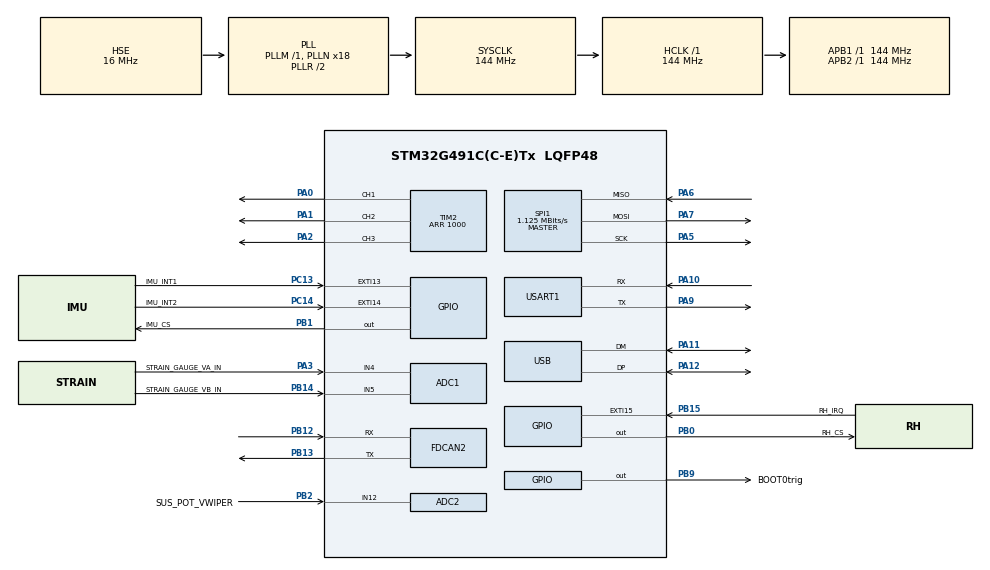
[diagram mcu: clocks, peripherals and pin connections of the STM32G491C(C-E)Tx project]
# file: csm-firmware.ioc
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ADC1.Channel-0\#ChannelRegularConversion=ADC_CHANNEL_4
ADC1.NbrOfConversionFlag=1
ADC1.OffsetNumber-0\#ChannelRegularConversion=ADC_OFFSET_NONE
ADC1.Rank-0\#ChannelRegularConversion=1
ADC1.SamplingTime-0\#ChannelRegularConversion=ADC_SAMPLETIME_2CYCLES_5
ADC1.SingleDiff-0\#ChannelRegularConversion=ADC_DIFFERENTIAL_ENDED
ADC1.master=1
ADC2.Channel-0\#ChannelRegularConversion=ADC_CHANNEL_12
ADC2.NbrOfConversionFlag=1
ADC2.OffsetNumber-0\#ChannelRegularConversion=ADC_OFFSET_NONE
ADC2.Rank-0\#ChannelRegularConversion=1
ADC2.SamplingTime-0\#ChannelRegularConversion=ADC_SAMPLETIME_2CYCLES_5
Dma.Request0=SPI1_RX
Dma.Request1=SPI1_TX
Dma.SPI1_RX.0.Direction=DMA_PERIPH_TO_MEMORY
Dma.SPI1_RX.0.EventEnable=DISABLE
Dma.SPI1_RX.0.Instance=DMA1_Channel1
Dma.SPI1_RX.0.MemDataAlignment=DMA_MDATAALIGN_BYTE
Dma.SPI1_RX.0.MemInc=DMA_MINC_ENABLE
Dma.SPI1_RX.0.Mode=DMA_NORMAL
Dma.SPI1_RX.0.PeriphDataAlignment=DMA_PDATAALIGN_BYTE
Dma.SPI1_RX.0.PeriphInc=DMA_PINC_DISABLE
Dma.SPI1_RX.0.Polarity=HAL_DMAMUX_REQ_GEN_RISING
Dma.SPI1_RX.0.Priority=DMA_PRIORITY_LOW
Dma.SPI1_RX.0.RequestNumber=1
Dma.SPI1_RX.0.SignalID=NONE
Dma.SPI1_RX.0.SyncEnable=DISABLE
Dma.SPI1_RX.0.SyncPolarity=HAL_DMAMUX_SYNC_NO_EVENT
Dma.SPI1_RX.0.SyncRequestNumber=1
Dma.SPI1_RX.0.SyncSignalID=NONE
Dma.SPI1_TX.1.Direction=DMA_MEMORY_TO_PERIPH
Dma.SPI1_TX.1.EventEnable=DISABLE
Dma.SPI1_TX.1.Instance=DMA1_Channel2
Dma.SPI1_TX.1.MemDataAlignment=DMA_MDATAALIGN_BYTE
Dma.SPI1_TX.1.MemInc=DMA_MINC_ENABLE
Dma.SPI1_TX.1.Mode=DMA_NORMAL
Dma.SPI1_TX.1.PeriphDataAlignment=DMA_PDATAALIGN_BYTE
Dma.SPI1_TX.1.PeriphInc=DMA_PINC_DISABLE
Dma.SPI1_TX.1.Polarity=HAL_DMAMUX_REQ_GEN_RISING
Dma.SPI1_TX.1.Priority=DMA_PRIORITY_LOW
Dma.SPI1_TX.1.RequestNumber=1
Dma.SPI1_TX.1.SignalID=NONE
Dma.SPI1_TX.1.SyncEnable=DISABLE
Dma.SPI1_TX.1.SyncPolarity=HAL_DMAMUX_SYNC_NO_EVENT
Dma.SPI1_TX.1.SyncRequestNumber=1
Dma.SPI1_TX.1.SyncSignalID=NONE
FDCAN2.CalculateBaudRateNominal=1000000
FDCAN2.CalculateTimeBitNominal=1000
FDCAN2.CalculateTimeQuantumNominal=250.0
FDCAN2.Mode=FDCAN_MODE_NORMAL
FDCAN2.NominalPrescaler=12
FDCAN2.NominalTimeSeg1=2
FDCAN2.NominalTimeSeg2=1
FREERTOS.Tasks01=defaultTask,24,2048,StartDefaultTask,Default,NULL,Dynamic,NULL,NULL
FREERTOS.configTOTAL_HEAP_SIZE=65536
Mcu.Family=STM32G4
Mcu.Name=STM32G491C(C-E)Tx
Mcu.Package=LQFP48
NVIC.DMA1_Channel1_IRQn=true\:5\:0\:false\:false\:true\:true\:false\:true\:true
NVIC.DMA1_Channel2_IRQn=true\:5\:0\:false\:false\:true\:true\:false\:true\:true
NVIC.EXTI15_10_IRQn=true\:5\:0\:false\:false\:true\:true\:true\:true\:true
NVIC.PriorityGroup=NVIC_PRIORITYGROUP_4
NVIC.TIM20_UP_IRQn=true\:15\:0\:false\:false\:true\:false\:false\:true\:true
NVIC.TIM6_DAC_IRQn=true\:5\:0\:false\:false\:true\:true\:true\:true\:true
NVIC.TimeBase=TIM20_UP_IRQn
NVIC.TimeBaseIP=TIM20
NVIC.USB_LP_IRQn=true\:5\:0\:false\:false\:true\:true\:false\:true\:true
PA0.Signal=S_TIM2_CH1
PA1.Signal=S_TIM2_CH2
PA10.Mode=Asynchronous
PA10.Signal=USART1_RX
PA11.Mode=Device
PA11.Signal=USB_DM
PA12.Mode=Device
PA12.Signal=USB_DP
PA13.Mode=Trace_Asynchronous_SW
PA13.Signal=SYS_JTMS-SWDIO
PA14.Mode=Trace_Asynchronous_SW
PA14.Signal=SYS_JTCK-SWCLK
PA2.Signal=S_TIM2_CH3
PA3.GPIO_Label=STRAIN_GAUGE_VA_IN
PA3.Mode=IN4-Differential
PA3.Signal=ADC1_IN4
PA5.Mode=Full_Duplex_Master
PA5.Signal=SPI1_SCK
PA6.Mode=Full_Duplex_Master
PA6.Signal=SPI1_MISO
PA7.Mode=Full_Duplex_Master
PA7.Signal=SPI1_MOSI
PA9.Mode=Asynchronous
PA9.Signal=USART1_TX
PB0.GPIO_Label=RH_CS
PB0.PinState=GPIO_PIN_SET
PB0.Signal=GPIO_Output
PB1.GPIO_Label=IMU_CS
PB1.PinState=GPIO_PIN_SET
PB1.Signal=GPIO_Output
PB12.Mode=FDCAN_Activate
PB12.Signal=FDCAN2_RX
PB13.Mode=FDCAN_Activate
PB13.Signal=FDCAN2_TX
PB14.GPIO_Label=STRAIN_GAUGE_VB_IN
PB14.Mode=IN4-Differential
PB14.Signal=ADC1_IN5
PB15.GPIO_Label=RH_IRQ
PB15.GPIO_ModeDefaultEXTI=GPIO_MODE_IT_FALLING
PB15.Signal=GPXTI15
PB2.GPIO_Label=SUS_POT_VWIPER
PB2.Mode=IN12-Single-Ended
PB2.Signal=ADC2_IN12
PB3.Mode=Trace_Asynchronous_SW
PB3.Signal=SYS_JTDO-SWO
PB9.GPIO_Label=BOOT0trig
PB9.Signal=GPIO_Output
PC13.GPIO_Label=IMU_INT1
PC13.Signal=GPXTI13
PC14-OSC32_IN.GPIO_Label=IMU_INT2
PC14-OSC32_IN.Signal=GPXTI14
PF0-OSC_IN.Mode=HSE-External-Oscillator
PF0-OSC_IN.Signal=RCC_OSC_IN
PF1-OSC_OUT.Mode=HSE-External-Oscillator
PF1-OSC_OUT.Signal=RCC_OSC_OUT
ProjectManager.HeapSize=0x200
ProjectManager.StackSize=0x400
ProjectManager.TargetToolchain=Makefile
RCC.ADC12Freq_Value=144000000
RCC.ADC345Freq_Value=144000000
RCC.AHBFreq_Value=144000000
RCC.APB1Freq_Value=144000000
RCC.APB1TimFreq_Value=144000000
RCC.APB2Freq_Value=144000000
RCC.APB2TimFreq_Value=144000000
RCC.CK48CLockSelection=RCC_USBCLKSOURCE_PLL
RCC.CortexFreq_Value=144000000
RCC.EXTERNAL_CLOCK_VALUE=12288000
RCC.FDCANCLockSelection=RCC_FDCANCLKSOURCE_PLL
RCC.HCLKFreq_Value=144000000
RCC.HSE_VALUE=16000000
RCC.HSI48_VALUE=48000000
RCC.HSI_VALUE=16000000
RCC.LSE_VALUE=32768
RCC.PLLN=18
RCC.PLLQ=RCC_PLLQ_DIV6
RCC.PLLSourceVirtual=RCC_PLLSOURCE_HSE
RCC.SYSCLKFreq_VALUE=144000000
RCC.SYSCLKSource=RCC_SYSCLKSOURCE_PLLCLK
RCC.USBFreq_Value=48000000
RCC.VCOOutputFreq_Value=288000000
SH.S_TIM2_CH1.0=TIM2_CH1,PWM Generation1 CH1
SH.S_TIM2_CH2.0=TIM2_CH2,PWM Generation2 CH2
SH.S_TIM2_CH3.0=TIM2_CH3,PWM Generation3 CH3
SPI1.BaudRatePrescaler=SPI_BAUDRATEPRESCALER_128
SPI1.CLKPhase=SPI_PHASE_2EDGE
SPI1.CLKPolarity=SPI_POLARITY_HIGH
SPI1.CalculateBaudRate=1.125 MBits/s
SPI1.DataSize=SPI_DATASIZE_8BIT
SPI1.Direction=SPI_DIRECTION_2LINES
SPI1.Mode=SPI_MODE_MASTER
SPI1.VirtualType=VM_MASTER
TIM2.Channel-PWM\ Generation1\ CH1=TIM_CHANNEL_1
TIM2.Channel-PWM\ Generation2\ CH2=TIM_CHANNEL_2
TIM2.Channel-PWM\ Generation3\ CH3=TIM_CHANNEL_3
TIM2.OCFastMode_PWM-PWM\ Generation1\ CH1=TIM_OCFAST_ENABLE
TIM2.OCFastMode_PWM-PWM\ Generation2\ CH2=TIM_OCFAST_ENABLE
TIM2.OCFastMode_PWM-PWM\ Generation3\ CH3=TIM_OCFAST_ENABLE
TIM2.OCPolarity_1=TIM_OCPOLARITY_LOW
TIM2.OCPolarity_2=TIM_OCPOLARITY_LOW
TIM2.OCPolarity_3=TIM_OCPOLARITY_LOW
TIM2.PeriodNoDither=1000
USART1.VirtualMode-Asynchronous=VM_ASYNC
USB_DEVICE.CLASS_NAME_FS=CDC
USB_DEVICE.VirtualMode=Cdc
USB_DEVICE.VirtualModeFS=Cdc_FS
VP_FREERTOS_VS_CMSIS_V2.Mode=CMSIS_V2
VP_SYS_VS_DBSignals.Mode=DisableDeadBatterySignals
VP_SYS_VS_tim20.Mode=TIM20
VP_TIM6_VS_ClockSourceINT.Mode=Enable_Timer
VP_USB_DEVICE_VS_USB_DEVICE_CDC_FS.Mode=CDC_FS
board=custom

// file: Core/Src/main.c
/* USER CODE BEGIN Header */
/**
 ******************************************************************************
 * @file           : main.c
 * @brief          : Main program body
 ******************************************************************************
 * @attention
 *
 * Copyright (c) 2025 STMicroelectronics.
 * All rights reserved.
 *
 * This software is licensed under terms that can be found in the LICENSE file
 * in the root directory of this software component.
 * If no LICENSE file comes with this software, it is provided AS-IS.
 *
 ******************************************************************************
 */
/* USER CODE END Header */
#include "main.h"
#include "cmsis_os.h"
#include "adc.h"
#include "dma.h"
#include "fdcan.h"
#include "spi.h"
#include "tim.h"
#include "usart.h"
#include "usb_device.h"
#include "gpio.h"

void SystemClock_Config(void);
void MX_FREERTOS_Init(void);

int main(void)
{

  /* MCU Configuration--------------------------------------------------------*/

  /* Reset of all peripherals, Initializes the Flash interface and the Systick. */
  HAL_Init();

  /* Configure the system clock */
  SystemClock_Config();

  /* Initialize all configured peripherals */
  MX_GPIO_Init();
  MX_DMA_Init();
  MX_TIM2_Init();
  MX_USART1_UART_Init();
  MX_ADC1_Init();
  MX_FDCAN2_Init();
  MX_SPI1_Init();
  MX_TIM6_Init();
  MX_ADC2_Init();
  /* USER CODE BEGIN 2 */
  // MX_USB_Device_Init();
  /* USER CODE END 2 */

  /* Init scheduler */
  osKernelInitialize();  /* Call init function for freertos objects (in cmsis_os2.c) */
  MX_FREERTOS_Init();

  /* Start scheduler */
  osKernelStart();

  /* We should never get here as control is now taken by the scheduler */

  /* Infinite loop */
    while (1) {

    }
}

void SystemClock_Config(void)
{
  RCC_OscInitTypeDef RCC_OscInitStruct = {0};
  RCC_ClkInitTypeDef RCC_ClkInitStruct = {0};

  /** Configure the main internal regulator output voltage
  */
  HAL_PWREx_ControlVoltageScaling(PWR_REGULATOR_VOLTAGE_SCALE1);

  /** Initializes the RCC Oscillators according to the specified parameters
  * in the RCC_OscInitTypeDef structure.
  */
  RCC_OscInitStruct.OscillatorType = RCC_OSCILLATORTYPE_HSE;
  RCC_OscInitStruct.HSEState = RCC_HSE_ON;
  RCC_OscInitStruct.PLL.PLLState = RCC_PLL_ON;
  RCC_OscInitStruct.PLL.PLLSource = RCC_PLLSOURCE_HSE;
  RCC_OscInitStruct.PLL.PLLM = RCC_PLLM_DIV1;
  RCC_OscInitStruct.PLL.PLLN = 18;
  RCC_OscInitStruct.PLL.PLLP = RCC_PLLP_DIV2;
  RCC_OscInitStruct.PLL.PLLQ = RCC_PLLQ_DIV6;
  RCC_OscInitStruct.PLL.PLLR = RCC_PLLR_DIV2;
  if (HAL_RCC_OscConfig(&RCC_OscInitStruct) != HAL_OK)
  {
    Error_Handler();
  }

  /** Initializes the CPU, AHB and APB buses clocks
  */
  RCC_ClkInitStruct.ClockType = RCC_CLOCKTYPE_HCLK|RCC_CLOCKTYPE_SYSCLK
                              |RCC_CLOCKTYPE_PCLK1|RCC_CLOCKTYPE_PCLK2;
  RCC_ClkInitStruct.SYSCLKSource = RCC_SYSCLKSOURCE_PLLCLK;
  RCC_ClkInitStruct.AHBCLKDivider = RCC_SYSCLK_DIV1;
  RCC_ClkInitStruct.APB1CLKDivider = RCC_HCLK_DIV1;
  RCC_ClkInitStruct.APB2CLKDivider = RCC_HCLK_DIV1;

  if (HAL_RCC_ClockConfig(&RCC_ClkInitStruct, FLASH_LATENCY_4) != HAL_OK)
  {
    Error_Handler();
  }
}

void HAL_TIM_PeriodElapsedCallback(TIM_HandleTypeDef *htim)
{
  if (htim->Instance == TIM20)
  {
    HAL_IncTick();
  }
  /* USER CODE BEGIN Callback 1 */
  Argus_TIM_PeriodElapsedCallback(htim);
  /* USER CODE END Callback 1 */
}

void Error_Handler(void)
{
  /* USER CODE BEGIN Error_Handler_Debug */
    /* User can add his own implementation to report the HAL error return state
     */
    __disable_irq();
    while (1) {
        // HAL_TIM_PWM_DeInit(&htim2);
        // HAL_GPIO_TogglePin(GPIOA, GPIO_PIN_0);
    }
  /* USER CODE END Error_Handler_Debug */
}
#ifdef USE_FULL_ASSERT
/**
  * @brief  Reports the name of the source file and the source line number
  *         where the assert_param error has occurred.
  * @param  file: pointer to the source file name
  * @param  line: assert_param error line source number
  * @retval None
  */
void assert_failed(uint8_t *file, uint32_t line)
{
  /* USER CODE BEGIN 6 */
    /* User can add his own implementation to report the file name and line
       number, ex: printf("Wrong parameters value: file %s on line %d\r\n",
       file, line) */
  /* USER CODE END 6 */
}
#endif /* USE_FULL_ASSERT */

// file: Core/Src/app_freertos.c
/* USER CODE BEGIN Header */
/**
 ******************************************************************************
 * File Name          : app_freertos.c
 * Description        : Code for freertos applications
 ******************************************************************************
 * @attention
 *
 * Copyright (c) 2025 STMicroelectronics.
 * All rights reserved.
 *
 * This software is licensed under terms that can be found in the LICENSE file
 * in the root directory of this software component.
 * If no LICENSE file comes with this software, it is provided AS-IS.
 *
 ******************************************************************************
 */
/* USER CODE END Header */

#include "FreeRTOS.h"
#include "task.h"
#include "main.h"
#include "cmsis_os.h"

#include "usb_device.h"

/* USER CODE BEGIN Includes */
#include "longhorn/rtos/led.h"
//#include "led_base.h"
#include "longhorn/led_base.h"
#include "tim.h"
#include "ride_height.h"
#include "usbd_cdc_if.h"
#include "platform/argus_timer.h"
#include "platform/argus_s2pi.h"
#include "platform/board_config.h"
#include "adc.h"
#include "spi.h"
#include "suspot.h"
#include "strain_gauge.h"
#include "imu.h"
#include "longhorn/rtos/dfu.h"
#include "longhorn/rtos/logger.h"
#include "longhorn/rtos/usb.h"
#include "longhorn/usb_base.h"
#include "ota/ota_flash.h"
#include "csm_can.h"
#include "spi_mutex.h"
#include "fdcan.h"
/* USER CODE END Includes */

/* USER CODE BEGIN Variables */
osThreadId_t accelRideHeightTaskHandle;
const osThreadAttr_t accelRideHeightTask_attributes = {
    .name = "accelRideHeightTask",
    .priority = (osPriority_t) osPriorityNormal,
    .stack_size = 4096 * 4
};

osThreadId_t susPotStrainGaugeTaskHandle;
const osThreadAttr_t susPotStrainGaugeTask_attributes = {
    .name = "susPotStrainGaugeTask",
    .priority = (osPriority_t) osPriorityNormal,
    .stack_size = 2048 * 4
};
osThreadId_t IMUTaskHandle;
const osThreadAttr_t IMUTask_attributes = {
    .name = "IMUTask",
    .priority = (osPriority_t) osPriorityNormal,
    .stack_size = 2048 * 4
};

osThreadId_t rideHeightTaskHandle;
const osThreadAttr_t rideHeightTask_attributes = {
    .name = "rideHeightTask",
    .priority = (osPriority_t) osPriorityNormal,
    .stack_size = 4096 * 4
};

osThreadId_t susPotTaskHandle;
const osThreadAttr_t susPotTask_attributes = {
    .name = "susPotTask",
    .priority = (osPriority_t) osPriorityNormal,
    .stack_size = 2048 * 4
};
osThreadId_t strainGaugeTaskHandle;
const osThreadAttr_t strainGaugeTask_attributes = {
    .name = "strainGaugeTask",
    .priority = (osPriority_t) osPriorityNormal,
    .stack_size = 2048 * 4
};
/* USER CODE END Variables */
/* Definitions for defaultTask */
osThreadId_t defaultTaskHandle;
const osThreadAttr_t defaultTask_attributes = {
  .name = "defaultTask",
  .priority = (osPriority_t) osPriorityNormal,
  .stack_size = 2048 * 4
};

/* USER CODE BEGIN FunctionPrototypes */
void StartAccelRideHeightTask(void *argument);
void StartSusPotStrainGaugeTask(void *argument);
void StartIMUTask(void *argument);
void StartRideHeightTask(void *argument);
void StartSusPotTask(void *argument);
void StartStrainGaugeTask(void *argument);
/* USER CODE END FunctionPrototypes */

void StartDefaultTask(void *argument);

void MX_FREERTOS_Init(void); /* (MISRA C 2004 rule 8.1) */

void MX_FREERTOS_Init(void) {

  /* Create the thread(s) */
  /* creation of defaultTask */
  defaultTaskHandle = osThreadNew(StartDefaultTask, NULL, &defaultTask_attributes);

  /* USER CODE BEGIN RTOS_THREADS */
    /* add threads, ... */

 rainbow_led_t led = {
    .ccr1 = &TIM2->CCR1,
    .ccr2 = &TIM2->CCR2,
    .ccr3 = &TIM2->CCR3,
    .channel1 = TIM_CHANNEL_1,
    .channel2 = TIM_CHANNEL_2,
    .channel3 = TIM_CHANNEL_3,
    .pwm_start = (HAL_PWM_Start_Fn)HAL_TIM_PWM_Start,
    .timer_handle = &htim2,
};

    led_init(&led);
    led_start_thread();

    accelRideHeightTaskHandle = osThreadNew(StartAccelRideHeightTask, NULL, &accelRideHeightTask_attributes);
    susPotStrainGaugeTaskHandle = osThreadNew(StartSusPotStrainGaugeTask, NULL, &susPotStrainGaugeTask_attributes);
    // IMUTaskHandle = osThreadNew(StartIMUTask, NULL, &IMUTask_attributes);
    // susPotTaskHandle = osThreadNew(StartSusPotTask, NULL, &susPotTask_attributes);
    // rideHeightTaskHandle = osThreadNew(StartRideHeightTask, NULL, &rideHeightTask_attributes);
    // strainGaugeTaskHandle = osThreadNew(StartStrainGaugeTask, NULL, &strainGaugeTask_attributes);
  /* USER CODE END RTOS_THREADS */

}

void StartDefaultTask(void *argument)
{
  /* init code for USB_Device */
  MX_USB_Device_Init();
  /* USER CODE BEGIN StartDefaultTask */
    /* Infinite loop */
    osDelay(500);
    spi_mutex_init();
    csm_can_init();

    osDelay(1000);  // let bus settle
    uint32_t psr = hfdcan2.Instance->PSR;
    char buf[64];
    snprintf(buf, sizeof(buf), "FDCAN PSR: 0x%08X BO:%d EP:%d EW:%d\r\n",
      psr,
      (int)((psr >> 7) & 1),
      (int)((psr >> 6) & 1),
      (int)((psr >> 5) & 1));
CDC_Transmit_FS((uint8_t*)buf, strlen(buf));

    dfu_config dfu = {
      .delay_fn = (Delay_fn)osDelay,
      .gpiox = GPIOB,
      .pin = GPIO_PIN_9,
      .pin_set_fn = (PinSet_fn)HAL_GPIO_WritePin,
      .reset_fn = (SystemReset_fn)HAL_NVIC_SystemReset,
      .set_bank1_fn = (SetBank1_fn)ota_set_bank1,
      };

      init_dfu(dfu);
      dfu_start_thread();

    for (;;) {
        osDelay(1000);
        // csm_can_debug();
    }

  /* USER CODE END StartDefaultTask */
}

/* USER CODE BEGIN Application */
void StartAccelRideHeightTask(void *argument)
{
    // Wait for USB and CAN to be ready
    osDelay(5000);

    CDC_Transmit_FS((uint8_t*)"Accel+RH task started\r\n", 23);
    osDelay(500);

    // Init ride height sensor
    ride_height_init();
    osDelay(500);

    // Init IMU
    int result = IMU_Init(&hspi1);
    if (result != 0) {
        char buf[64];
        snprintf(buf, sizeof(buf), "IMU init failed, WHO_AM_I=0x%02X\r\n", result);
        CDC_Transmit_FS((uint8_t*)buf, strlen(buf));
        // continue anyway — ride height will still work
    } else {
        CDC_Transmit_FS((uint8_t*)"IMU init success\r\n", 18);
    }

    // Stop rainbow LED and use it for ride height indication
    led_disable();

    imu_data_t imu_data = {0};
    char buf[128];

    for (;;)
    {
    float distance_mm = ride_height_get_distance_mm();
    uint8_t quality = ride_height_get_quality();

    // Non-blocking IMU read — only update if data is ready
    if (result == 0 && IMU_AccelStatus() && IMU_GyroStatus()) {
        IMU_GetAccel(&imu_data.accel);
        IMU_GetGyro(&imu_data.gyro);
    }

    csm_can_update_accel_ride_height(
        imu_data.accel.x,
        imu_data.accel.y,
        imu_data.accel.z,
        imu_data.accel.y
    );

    csm_can_update_gyro(
    imu_data.gyro.x,
    imu_data.gyro.y,
    imu_data.gyro.z
    );

    // LED update
    float t = (distance_mm - 20.0f) / (200.0f - 20.0f);
    if (t < 0.0f) t = 0.0f;
    if (t > 1.0f) t = 1.0f;
    led_set((1.0f - t) * 0.5f, 0.0f, t * 0.5f);

    // Debug print
    int len = snprintf(buf, sizeof(buf),
        "RH: %.2f mm Q:%d | Accel: %.3f %.3f %.3f m/s^2\r\n",
        distance_mm, quality,
        imu_data.accel.x, imu_data.accel.y, imu_data.accel.z);
    if (len > 0)
        CDC_Transmit_FS((uint8_t*)buf, (uint16_t)len);

    osDelay(10);
}
}

void StartSusPotStrainGaugeTask(void *argument)
{
    osDelay(1000);  // wait for USB and CAN to be ready

    char buf[64];

    for (;;)
    {
        // Read sus pot
        uint32_t sus_pot_raw = susPotGetVal(&hadc2, ADC_CHANNEL_12);
        float sus_pot_voltage = ((float)sus_pot_raw / 4095.0f) * 5000.0f;

        // Read strain gauge
        int32_t strain_raw = strainGaugeGetVal(&hadc1, ADC_CHANNEL_4);
        float strain_voltage = ((float)strain_raw / 4095.0f) * 5000.0f;

        // Send CAN packet
        csm_can_update_strain_gauge_sus_pot(sus_pot_voltage, strain_voltage);

        // Debug print
        int len = snprintf(buf, sizeof(buf),
            "SusPot: %.2f mV | Strain: %.2f mV\r\n",
            sus_pot_voltage, strain_voltage);
        if (len > 0)
            CDC_Transmit_FS((uint8_t*)buf, (uint16_t)len);

        osDelay(10);  // 100Hz
    }
}
void StartIMUTask(void *argument)
{
    osDelay(8000);

    int result = IMU_Init(&hspi1);
    if (result != 0) {
        // WHO_AM_I failed -- print result for debugging
        osDelay(500);  // give USB time to be ready
        char buf[64];
        snprintf(buf, sizeof(buf), "IMU init failed, WHO_AM_I=0x%02X\r\n", result);
        CDC_Transmit_FS((uint8_t*)buf, strlen(buf));
        osDelay(500);
        vTaskDelete(NULL);  // kill task if IMU not found
        return;
    }

    CDC_Transmit_FS((uint8_t*)"IMU init success\r\n", 18);
    osDelay(500);
    uint8_t whoami = imu_read(0x0F);
    uint8_t ctrl1  = imu_read(0x10);
    uint8_t ctrl2  = imu_read(0x11);
    char dbg[128];
    snprintf(dbg, sizeof(dbg), "WHO_AM_I=0x%02X CTRL1_XL=0x%02X CTRL2_G=0x%02X\r\n", whoami, ctrl1, ctrl2);
    CDC_Transmit_FS((uint8_t*)dbg, strlen(dbg));
    osDelay(500);

    imu_data_t data;
    char buf[128];

    for (;;)
    {
        IMU_GetData(&data);
        int len = snprintf(buf, sizeof(buf),
            "Accel: %.3f %.3f %.3f m/s^2 | Gyro: %.3f %.3f %.3f rad/s\r\n",
            data.accel.x, data.accel.y, data.accel.z,
            data.gyro.x,  data.gyro.y,  data.gyro.z);
        if (len > 0)
            CDC_Transmit_FS((uint8_t*)buf, (uint16_t)len);
        osDelay(100);  // 10 Hz print rate
    }
}

void StartStrainGaugeTask(void *argument) {
  osDelay(100);
  int32_t value;

  for(;;) {
    value = strainGaugeGetVal(&hadc1, ADC_CHANNEL_4);

    char buf[64];
    int len = snprintf(buf, sizeof(buf), "STRAIN_GAUGE Reading: %ld\r\n", value);
    if (len > 0) {
      CDC_Transmit_FS((uint8_t*)buf, (uint16_t)len);
    }

    osDelay(1000); // 1 Hz sampling
  }
}
void StartSusPotTask(void *argument)
{
    osDelay(100);
    uint32_t value;

    for (;;)
    {
        value = susPotGetVal(&hadc2, ADC_CHANNEL_12);
        float voltage = ((float)value / 4095.0f) * 5000.0f; //adjusted for telem scaling
        // float inches = (percent / 100.0f) * 0.04f; // Assuming 0.04 inches per percent
        char buf[64];
        int len = snprintf(buf, sizeof(buf), "SUSPOT Travel: %.2f\r\n", voltage);
        // int len = snprintf(buf, sizeof(buf), "SUSPOT Travel: %.2f%%\r\n", percent);
        // int len = snprintf(buf, sizeof(buf), "ADC output: %lu\r\n", value);

        if (len > 0) {
          CDC_Transmit_FS((uint8_t*)buf, (uint16_t)len);
          csm_can_update_strain_gauge_sus_pot(voltage, 0.0f); // TODO: pass actual strain voltage
        }

        osDelay(1000); // 333 Hz sampling
    }
}

// void StartCANTask(void *argument) {
//   osDelay(500);
//   csm_can_update_strain_gauge_sus_pot(0.0f, 0.0f); // TODO: pass actual strain voltage and suspot travel
// }

void StartRideHeightTask(void *argument)
{
    osDelay(5000);
    CDC_Transmit_FS((uint8_t*)"RH task started\r\n", 17);
    osDelay(500);
    ride_height_init();

    led_disable(); // stops the rainbow thread

    char buf[64];
    for (;;)
    {
        float distance_mm = ride_height_get_distance_mm();
        uint8_t quality = ride_height_get_quality();

        // maps distance from red to blue, <20.0mm is full red, >100.0mm is full blue, with linear in between
        float t = (distance_mm - 20.0f) / (200.0f - 20.0f);
        if (t < 0.0f) {
          t = 0.0f;
        }
        if (t > 1.0f) {
          t = 1.0f;
        }
        float red = (1.0f - t) * 0.5f;
        float blue = t * 0.5f;
        led_set(red, 0.0f, blue);

        int len = snprintf(buf, sizeof(buf), "Distance: %.2f mm  Quality: %d\r\n", distance_mm, quality);
        if (len > 0)
            CDC_Transmit_FS((uint8_t*)buf, (uint16_t)len);
        osDelay(10);
    }
}
